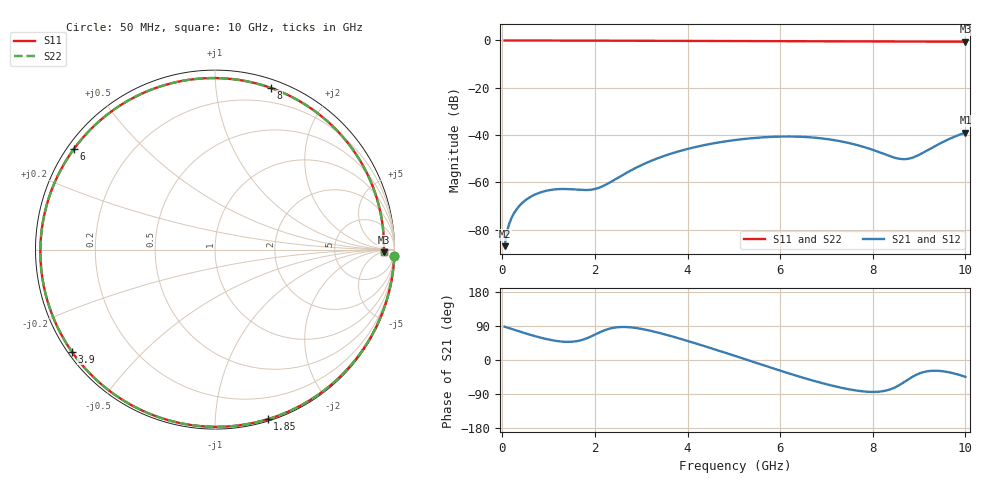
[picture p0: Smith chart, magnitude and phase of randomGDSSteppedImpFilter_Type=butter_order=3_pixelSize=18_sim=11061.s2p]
! freq	dB(S11)	phase(S11)	dB(S12)	phase(S12)
!  dB(S21)	phase(S21)	dB(S22)	phase(S22)
!S-par simulation data
#  GHz  S  DB  R 50
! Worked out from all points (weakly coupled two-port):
!   200 points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, 50 MHz to 10 GHz, reference 50 ohm
!   highest |S21| = -38.97 dB at 10 GHz (marker M1); lowest = -87.0 dB at 50 MHz (marker M2)
!   lowest |S11| = -0.5 dB at 10 GHz (marker M3), VSWR 32.92, Z = 1.55e+03 - j380 ohm
!   |S11| at or under -10 dB: nowhere
!   |S22| runs from -0.5 to 0.0 dB; largest |S21 - S12| = 0
!   S11 on the Smith chart (normalised r, x): 50 MHz: 0, -56; 1.85 GHz: 0.01, -1.36; 3.9 GHz: 0.01, -0.32; 6 GHz: 0.02, +0.32; 8 GHz: 0.07, +1.40; 10 GHz: 31, -8
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0.05  -0.00 -2.1  -87.04 88.0  -87.04 88.0  -0.00 -2.1
0.1  -0.00 -4.1  -81.03 86.0  -81.03 86.0  -0.00 -4.1
0.2  -0.01 -8.2  -75.08 82.0  -75.08 82.0  -0.01 -8.2
0.35  -0.02 -14.2  -70.40 76.1  -70.40 76.1  -0.02 -14.2
0.65  -0.03 -26.3  -65.73 64.9  -65.73 64.9  -0.03 -26.3
1.1  -0.06 -44.1  -63.09 51.7  -63.09 51.7  -0.06 -44.1
1.75  -0.09 -69.0  -63.28 54.0  -63.28 54.0  -0.09 -69.0
1.85  -0.09 -72.8  -63.27 58.5  -63.27 58.5  -0.09 -72.8
2.15  -0.10 -83.8  -61.83 75.6  -61.83 75.6  -0.10 -83.8
2.6  -0.12 -100.0  -56.92 87.2  -56.92 87.2  -0.12 -100.0
3.4  -0.16 -127.7  -49.52 71.2  -49.52 71.2  -0.16 -127.7
3.9  -0.18 -144.6  -46.42 54.0  -46.42 54.0  -0.18 -144.6
4.5  -0.21 -164.6  -43.75 31.4  -43.75 31.4  -0.21 -164.6
5.05  -0.24 177.0  -42.07 9.8  -42.07 9.8  -0.24 177.0
6  -0.30 144.4  -40.68 -28.1  -40.68 -28.1  -0.30 144.4
6.7  -0.35 119.4  -41.05 -54.1  -41.05 -54.1  -0.35 119.4
7.35  -0.39 95.4  -42.83 -74.0  -42.83 -74.0  -0.39 95.4
8  -0.42 71.0  -46.28 -84.3  -46.28 -84.3  -0.42 71.0
8.35  -0.43 57.8  -48.81 -78.5  -48.81 -78.5  -0.43 57.8
8.85  -0.45 39.3  -49.63 -44.9  -49.63 -44.9  -0.45 39.3
9.4  -0.48 19.5  -44.13 -28.5  -44.13 -28.5  -0.48 19.5
10  -0.53 -0.9  -38.97 -44.4  -38.97 -44.4  -0.53 -0.9
